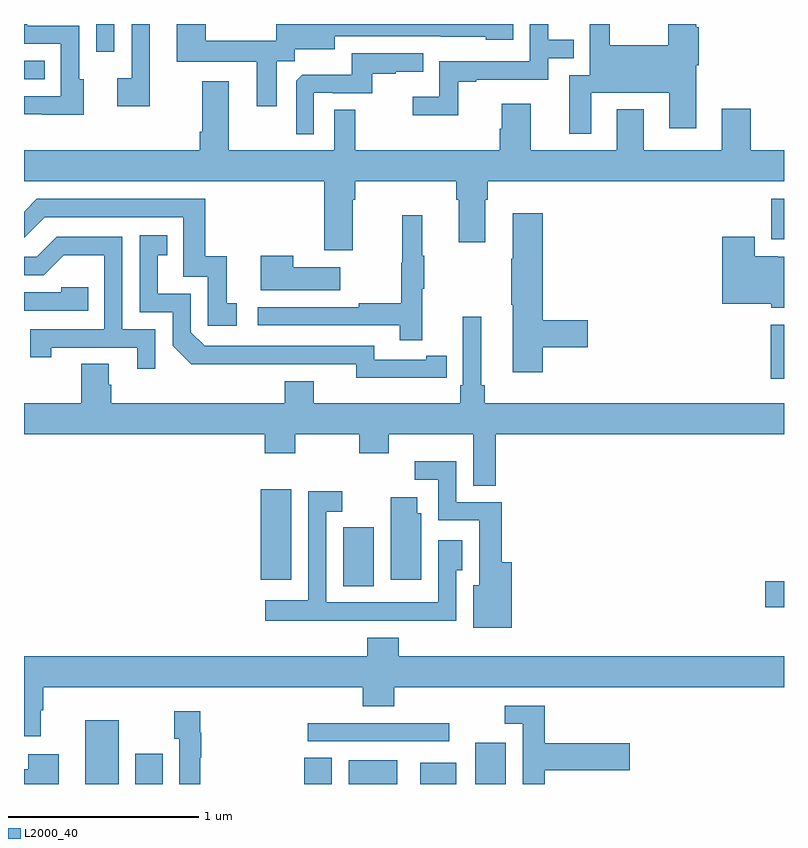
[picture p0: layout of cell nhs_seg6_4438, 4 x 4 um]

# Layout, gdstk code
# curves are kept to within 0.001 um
import gdstk
lib = gdstk.Library(unit=1e-6, precision=1e-09)
def R(c, l, rs):  # rectangles x0, y0, x1, y1
    for r in rs: c.add(gdstk.rectangle(r[:2], r[2:], *l))
def P(c, l, *ps):  # polygons
    for p in ps: c.add(gdstk.Polygon(p, *l))
L2000_40 = (2000, 40)

nhs_seg6_4438 = lib.new_cell('nhs_seg6_4438')
R(nhs_seg6_4438, L2000_40, [(373.322,941.5,373.498,941.836), (373.586,941.5,373.729,941.659), (374.474,941.5,374.62,941.639), (374.708,941.5,374.965,941.626), (375.086,941.5,375.274,941.611), (375.374,941.5,375.535,941.716), (374.493,941.724,375.238,941.82), (376.902,942.431,377,942.566), (374.681,942.541,374.842,942.852), (374.246,942.576,374.407,943.051), (376.931,943.632,377,943.918), (376.934,944.366,377,944.581), (373,945.21,373.109,945.306), (373.38,945.354,373.476,945.5)])
P(nhs_seg6_4438, L2000_40, [(375.285,945.195),(375.379,945.195),(375.379,945.207),(375.759,945.207),(375.759,945.321),(375.893,945.321),(375.893,945.417),(375.759,945.417),(375.759,945.5),(375.663,945.5),(375.663,945.303),(375.186,945.303),(375.186,945.118),(375.045,945.118),(375.045,945.02),(375.285,945.02)],
  [(373.663,945.5),(373.566,945.5),(373.566,945.214),(373.491,945.214),(373.491,945.066),(373.663,945.066)],
  [(373.315,945.21),(373.29,945.21),(373.29,945.492),(373.017,945.492),(373.017,945.5),(373,945.5),(373,945.396),(373.194,945.396),(373.194,945.12),(373,945.12),(373,945.024),(373.097,945.024),(373.097,945.023),(373.315,945.023)],
  [(374.329,945.304),(374.424,945.304),(374.424,945.368),(374.635,945.368),(374.635,945.435),(375.193,945.435),(375.193,945.434),(375.429,945.434),(375.429,945.416),(375.574,945.416),(375.574,945.5),(374.328,945.5),(374.328,945.412),(373.957,945.412),(373.957,945.5),(373.805,945.5),(373.805,945.302),(374.225,945.302),(374.225,945.066),(374.329,945.066)],
  [(375.985,945.137),(376.397,945.137),(376.397,944.952),(376.537,944.952),(376.537,945.284),(376.55,945.284),(376.55,945.484),(376.537,945.484),(376.537,945.5),(376.39,945.5),(376.39,945.388),(376.083,945.388),(376.083,945.5),(375.978,945.5),(375.978,945.231),(375.869,945.231),(375.869,944.922),(375.985,944.922)],
  [(374.526,945.138),(374.626,945.138),(374.626,945.135),(374.834,945.135),(374.834,945.237),(374.957,945.237),(374.957,945.248),(375.101,945.248),(375.101,945.345),(374.724,945.345),(374.724,945.233),(374.465,945.233),(374.433,945.201),(374.433,944.921),(374.526,944.921)],
  [(374.731,944.576),(374.744,944.576),(374.744,944.672),(375.275,944.672),(375.275,944.576),(375.287,944.576),(375.287,944.352),(375.427,944.352),(375.427,944.576),(375.44,944.576),(375.44,944.672),(377,944.672),(377,944.836),(376.826,944.836),(376.826,945.055),(376.673,945.055),(376.673,944.836),(376.261,944.836),(376.261,945.052),(376.121,945.052),(376.121,944.836),(375.667,944.836),(375.667,945.079),(375.515,945.079),(375.515,944.949),(375.503,944.949),(375.503,944.836),(374.743,944.836),(374.743,945.05),(374.634,945.05),(374.634,944.836),(374.077,944.836),(374.077,945.199),(373.937,945.199),(373.937,944.932),(373.925,944.932),(373.925,944.836),(373,944.836),(373,944.672),(374.579,944.672),(374.579,944.31),(374.731,944.31)],
  [(374.119,944.031),(374.066,944.031),(374.066,944.278),(373.955,944.278),(373.955,944.58),(373.068,944.58),(373,944.512),(373,944.374),(373.11,944.484),(373.839,944.484),(373.839,944.169),(373.968,944.169),(373.968,943.911),(374.119,943.911)],
  [(375.731,943.798),(375.967,943.798),(375.967,943.94),(375.731,943.94),(375.731,944.503),(375.572,944.503),(375.572,944.264),(375.565,944.264),(375.565,944.023),(375.572,944.023),(375.572,943.668),(375.731,943.668)],
  [(375.095,944.107),(375.106,944.107),(375.106,944.281),(375.095,944.281),(375.095,944.494),(374.992,944.494),(374.992,944.244),(374.985,944.244),(374.985,944.03),(374.761,944.03),(374.761,944.01),(374.229,944.01),(374.229,943.914),(374.977,943.914),(374.977,943.836),(375.095,943.836)],
  [(375.116,943.638),(375.224,943.638),(375.224,943.754),(375.116,943.754),(375.116,943.734),(374.844,943.734),(374.844,943.806),(373.95,943.806),(373.878,943.878),(373.878,944.079),(373.705,944.079),(373.705,944.283),(373.754,944.283),(373.754,944.389),(373.608,944.389),(373.608,943.983),(373.782,943.983),(373.782,943.806),(373.88,943.709),(374.748,943.71),(374.748,943.637)],
  [(377,944.276),(376.968,944.276),(376.968,944.278),(376.846,944.278),(376.846,944.38),(376.676,944.38),(376.676,944.027),(376.932,944.027),(376.932,944.006),(377,944.006)],
  [(373.692,943.893),(373.518,943.893),(373.518,944.379),(373.172,944.379),(373.067,944.274),(373,944.274),(373,944.178),(373.104,944.178),(373.208,944.282),(373.422,944.282),(373.422,943.893),(373.033,943.893),(373.033,943.746),(373.144,943.746),(373.144,943.797),(373.595,943.797),(373.595,943.686),(373.692,943.686)],
  [(374.665,944.221),(374.417,944.221),(374.417,944.281),(374.246,944.281),(374.246,944.099),(374.665,944.099)],
  [(373.337,944.115),(373.197,944.115),(373.197,944.088),(373,944.088),(373,943.992),(373.337,943.992)],
  [(375.484,943.34),(377,943.34),(377,943.504),(375.425,943.504),(375.425,943.6),(375.406,943.6),(375.406,943.96),(375.309,943.96),(375.309,943.6),(375.296,943.6),(375.296,943.504),(374.524,943.504),(374.524,943.621),(374.372,943.621),(374.372,943.504),(373.46,943.504),(373.46,943.602),(373.447,943.602),(373.447,943.712),(373.3,943.712),(373.3,943.504),(373,943.504),(373,943.34),(374.267,943.34),(374.267,943.241),(374.427,943.241),(374.427,943.34),(374.764,943.34),(374.764,943.241),(374.919,943.241),(374.919,943.34),(375.365,943.34),(375.365,943.069),(375.484,943.069)],
  [(375.566,942.667),(375.514,942.667),(375.514,942.984),(375.276,942.984),(375.276,943.198),(375.057,943.198),(375.057,943.101),(375.18,943.101),(375.18,942.888),(375.395,942.888),(375.395,942.547),(375.365,942.547),(375.365,942.323),(375.566,942.323)],
  [(374.689,942.36),(375.055,942.36),(375.055,942.359),(375.276,942.359),(375.276,942.625),(375.307,942.625),(375.307,942.784),(375.18,942.784),(375.18,942.456),(374.592,942.456),(374.592,942.933),(374.674,942.933),(374.674,943.042),(374.496,943.042),(374.496,942.466),(374.271,942.466),(374.271,942.359),(374.689,942.359)],
  [(375.091,942.924),(375.07,942.924),(375.07,943.009),(374.93,943.009),(374.93,942.576),(375.091,942.576)],
  [(373.087,941.888),(373.1,941.888),(373.1,942.008),(374.783,942.008),(374.783,941.909),(374.948,941.909),(374.948,942.008),(377,942.008),(377,942.172),(374.972,942.172),(374.972,942.271),(374.807,942.271),(374.807,942.172),(373,942.172),(373,941.751),(373.087,941.751)],
  [(375.74,941.573),(376.189,941.573),(376.189,941.715),(375.74,941.715),(375.74,941.913),(375.531,941.913),(375.531,941.817),(375.624,941.817),(375.624,941.5),(375.74,941.5)],
  [(373.927,941.639),(373.934,941.639),(373.934,941.771),(373.927,941.771),(373.927,941.884),(373.792,941.884),(373.792,941.739),(373.818,941.739),(373.818,941.5),(373.927,941.5)],
  [(373.183,941.656),(373.022,941.656),(373.022,941.578),(373,941.578),(373,941.5),(373.183,941.5)])

lib.write_gds('nhs_seg6_4438.gds')
